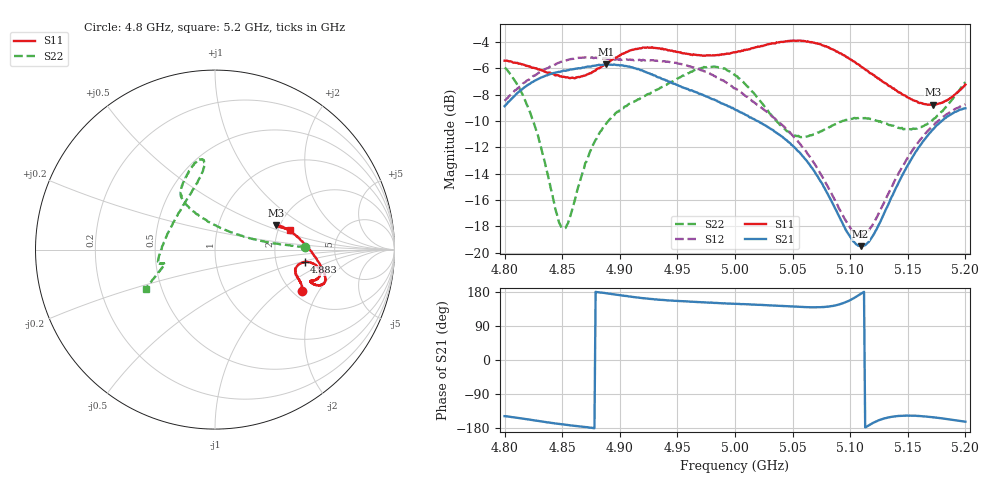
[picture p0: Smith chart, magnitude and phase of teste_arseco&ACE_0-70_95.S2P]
! Network Analyzer HP8722D
! Hewlett-Packard
! Data name: Linha & Wilkinson
! Saver's name: Rodrigo Anjos
! Comments: Teste da utilização de aquisição
! continua pelo VNA HP8722D
! Time and date: 8/5/2025 13:33
!  Frequency  S11  S21  S12  S22
# HZ  S  MA R 50
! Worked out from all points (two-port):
!   401 points, 4.8 GHz to 5.2 GHz, reference 50 ohm
!   highest |S21| = -5.70 dB at 4.888 GHz (marker M1); lowest = -19.5 dB at 5.109 GHz (marker M2)
!   |S21| within 3 dB of the highest: 4.802 GHz to 4.99 GHz (188.2 MHz wide, 3.84 % of centre)
!   lowest |S11| = -8.8 dB at 5.172 GHz (marker M3), VSWR 2.15, Z = 95.2 + j29.6 ohm
!   |S11| at or under -10 dB: nowhere
!   |S22| runs from -18.2 to -5.8 dB; largest |S21 - S12| = 1.1
!   S11 on the Smith chart (normalised r, x): 4.8 GHz: 2.22, -1.45; 4.883 GHz: 2.92, -0.55; 5.2 GHz: 2.33, +0.64
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4.8e9  0.5358 -25.7  0.3602 -148.3  0.3774 11.1  0.5037 1.7
4.812e9  0.5227 -22.5  0.4069 -153.0  0.4227 9.4  0.4267 2.8
4.824e9  0.5034 -20.3  0.4441 -158.4  0.4644 7.7  0.3225 6.3
4.849e9  0.4673 -16.4  0.4884 -169.5  0.5308 3.8  0.1256 56.4
4.855e9  0.4632 -14.7  0.4931 -171.7  0.5396 2.9  0.1292 83.8
4.867e9  0.4669 -11.1  0.503 -175.9  0.55 1.2  0.1969 113.5
4.883e9  0.5043 -8.0  0.5158 178.2  0.5475 -0.2  0.2882 122.2
4.888e9  0.5218 -7.7  0.5186 176.1  0.5467 -0.3  0.3085 123.1
4.91e9  0.5879 -10.3  0.5064 167.0  0.5393 0.1  0.3716 121.2
4.934e9  0.5976 -15.4  0.4624 159.0  0.5355 -0.9  0.4189 114.3
4.975e9  0.5609 -18.5  0.3918 151.8  0.4861 -4.5  0.5059 100.2
5e9  0.5772 -19.1  0.3497 148.3  0.4212 -4.7  0.4726 97.2
5.018e9  0.6033 -19.2  0.3181 146.1  0.3683 -2.0  0.3953 103.8
5.044e9  0.635 -17.4  0.2686 142.0  0.2964 3.5  0.2925 130.8
5.067e9  0.6287 -13.3  0.2096 139.2  0.2248 9.8  0.2798 164.5
5.099e9  0.5459 -2.6  0.1169 156.4  0.1264 37.9  0.3215 -169.9
5.109e9  0.5109 2.1  0.1059 174.0  0.1162 57.3  0.324 -166.9
5.119e9  0.4772 6.9  0.1147 -167.4  0.1265 77.1  0.3213 -165.8
5.134e9  0.429 14.1  0.1558 -151.0  0.1707 94.8  0.3051 -165.5
5.155e9  0.3785 21.0  0.2343 -147.2  0.248 102.3  0.2963 -163.9
5.172e9  0.3645 21.7  0.2942 -151.1  0.3046 103.3  0.3208 -160.1
5.2e9  0.4348 14.7  0.3536 -162.8  0.3662 103.6  0.4445 -150.3
